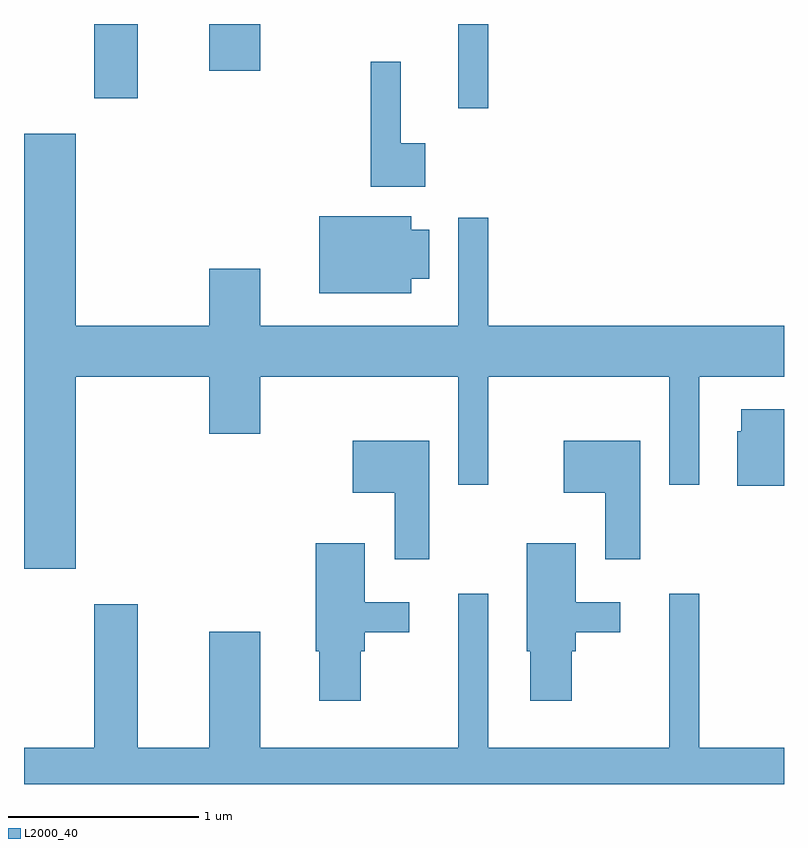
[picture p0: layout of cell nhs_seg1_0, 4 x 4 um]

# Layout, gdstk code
import gdstk
lib = gdstk.Library(unit=1e-6, precision=1e-09)
def R(c, l, rs):  # rectangles x0, y0, x1, y1
    for r in rs: c.add(gdstk.rectangle(r[:2], r[2:], *l))
def P(c, l, *ps):  # polygons
    for p in ps: c.add(gdstk.Polygon(p, *l))
L2000_40 = (2000, 40)

nhs_seg1_0 = lib.new_cell('nhs_seg1_0')
R(nhs_seg1_0, L2000_40, [(187.896,843.268,188.054,843.712), (185.981,843.321,186.209,843.712), (186.586,843.466,186.854,843.712)])
P(nhs_seg1_0, L2000_40, [(187.724,843.084),(187.594,843.084),(187.594,843.513),(187.436,843.513),(187.436,842.856),(187.724,842.856)],
  [(185.884,841.856),(186.586,841.856),(186.586,841.556),(186.854,841.556),(186.854,841.856),(187.896,841.856),(187.896,841.288),(188.054,841.288),(188.054,841.856),(189.006,841.856),(189.006,841.288),(189.164,841.288),(189.164,841.856),(189.611,841.856),(189.611,842.124),(188.054,842.124),(188.054,842.693),(187.896,842.693),(187.896,842.124),(186.854,842.124),(186.854,842.424),(186.586,842.424),(186.586,842.124),(185.884,842.124),(185.884,843.134),(185.611,843.134),(185.611,840.846),(185.884,840.846)],
  [(187.649,842.371),(187.744,842.371),(187.744,842.629),(187.649,842.629),(187.649,842.699),(187.166,842.699),(187.166,842.296),(187.649,842.296)],
  [(189.611,841.684),(189.386,841.684),(189.386,841.569),(189.366,841.569),(189.366,841.281),(189.611,841.281)],
  [(187.744,841.519),(187.341,841.519),(187.341,841.246),(187.561,841.246),(187.561,840.896),(187.744,840.896)],
  [(188.854,841.519),(188.451,841.519),(188.451,841.246),(188.671,841.246),(188.671,840.896),(188.854,840.896)],
  [(188.494,840.411),(188.514,840.411),(188.514,840.511),(188.748,840.511),(188.748,840.669),(188.514,840.669),(188.514,840.979),(188.256,840.979),(188.256,840.411),(188.276,840.411),(188.276,840.151),(188.494,840.151)],
  [(187.384,840.411),(187.404,840.411),(187.404,840.511),(187.638,840.511),(187.638,840.669),(187.404,840.669),(187.404,840.979),(187.146,840.979),(187.146,840.411),(187.166,840.411),(187.166,840.151),(187.384,840.151)],
  [(189.611,839.904),(189.164,839.904),(189.164,840.713),(189.006,840.713),(189.006,839.904),(188.054,839.904),(188.054,840.713),(187.896,840.713),(187.896,839.904),(186.854,839.904),(186.854,840.514),(186.586,840.514),(186.586,839.904),(186.209,839.904),(186.209,840.659),(185.981,840.659),(185.981,839.904),(185.611,839.904),(185.611,839.712),(189.611,839.712)])

lib.write_gds('nhs_seg1_0.gds')
